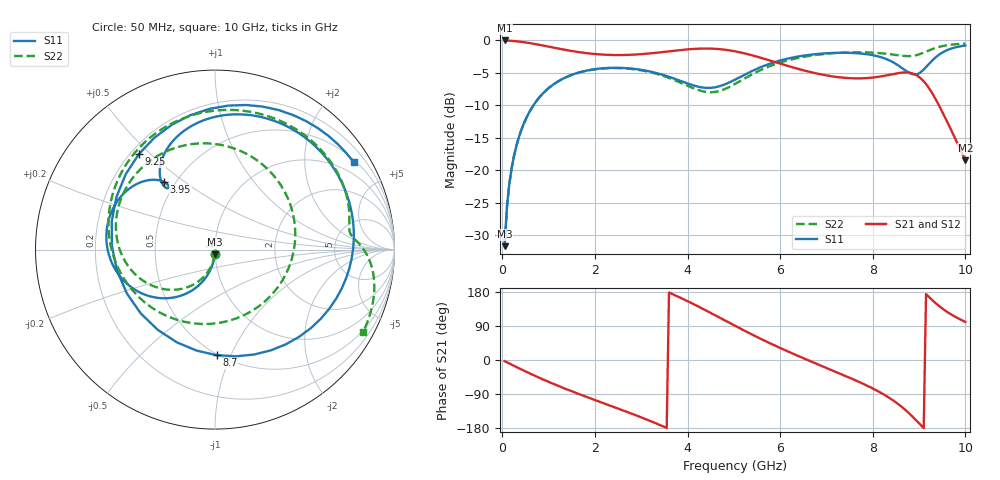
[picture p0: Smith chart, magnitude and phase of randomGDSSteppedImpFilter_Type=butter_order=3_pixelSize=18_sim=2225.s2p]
! freq	dB(S11)	phase(S11)	dB(S12)	phase(S12)
!  dB(S21)	phase(S21)	dB(S22)	phase(S22)
!S-par simulation data
#  GHz  S  DB  R 50
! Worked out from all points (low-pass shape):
!   200 points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, 50 MHz to 10 GHz, reference 50 ohm
!   highest |S21| = -0.01 dB at 50 MHz (marker M1); lowest = -18.4 dB at 10 GHz (marker M2)
!   |S21| within 3 dB of the highest: start of sweep to 5.739 GHz
!   lowest |S11| = -31.7 dB at 50 MHz (marker M3), VSWR 1.05, Z = 49.8 - j2.59 ohm
!   |S11| at or under -10 dB: start of sweep to 673.3 MHz
!   |S22| runs from -31.7 to -0.5 dB; largest |S21 - S12| = 0
!   S11 on the Smith chart (normalised r, x): 50 MHz: 1.00, -0.05; 3.95 GHz: 0.43, +0.42; 8.7 GHz: 0.49, -0.89; 9.25 GHz: 0.23, +0.46; 10 GHz: 0.57, +3.36
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0.05  -31.70 -92.9  -0.01 -3.1  -0.01 -3.1  -31.71 -93.6
0.1  -25.71 -95.8  -0.02 -6.2  -0.02 -6.2  -25.71 -97.1
0.2  -19.78 -101.4  -0.06 -12.3  -0.06 -12.3  -19.78 -104.0
0.5  -12.24 -117.4  -0.31 -30.1  -0.31 -30.1  -12.25 -123.9
1.05  -7.06 -143.9  -1.03 -60.3  -1.03 -60.3  -7.08 -157.9
1.75  -4.76 -172.2  -1.90 -94.3  -1.90 -94.3  -4.79 162.6
2.7  -4.29 156.0  -2.23 -137.2  -2.23 -137.2  -4.34 108.9
3.4  -5.16 136.5  -1.84 -171.3  -1.84 -171.3  -5.30 61.0
3.95  -6.51 127.0  -1.41 158.3  -1.41 158.3  -6.84 10.5
4.55  -7.28 127.9  -1.28 121.1  -1.28 121.1  -7.97 -65.7
5.05  -5.96 127.3  -1.71 88.8  -1.71 88.8  -6.61 -131.7
5.75  -3.66 109.9  -3.03 45.9  -3.03 45.9  -4.04 159.7
6.7  -2.17 72.6  -4.95 -5.6  -4.95 -5.6  -2.31 95.4
7.25  -1.91 46.7  -5.66 -33.7  -5.66 -33.7  -1.92 66.0
7.75  -2.02 18.2  -5.84 -60.4  -5.84 -60.4  -1.82 42.6
8.35  -3.05 -33.2  -5.31 -99.3  -5.31 -99.3  -2.10 18.8
8.7  -4.61 -89.1  -4.93 -131.3  -4.93 -131.3  -2.41 9.2
8.85  -5.20 -125.5  -5.07 -148.4  -5.07 -148.4  -2.39 6.7
9  -5.07 -167.8  -5.63 -167.1  -5.63 -167.1  -2.15 4.3
9.25  -3.35 128.7  -7.75 161.9  -7.75 161.9  -1.44 -2.1
9.55  -1.68 77.9  -11.71 131.6  -11.71 131.6  -0.81 -13.0
10  -0.79 32.3  -18.45 100.5  -18.45 100.5  -0.50 -29.1
